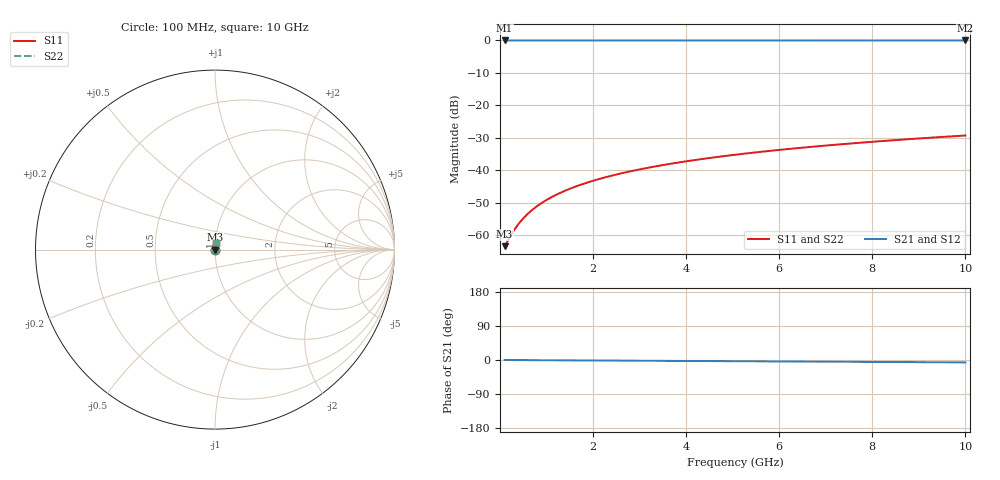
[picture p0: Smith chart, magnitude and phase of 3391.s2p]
# Hz S RI R 50.00
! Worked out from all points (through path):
!   100 points, 100 MHz to 10 GHz, reference 50 ohm
!   highest |S21| = -0.01 dB at 100 MHz (marker M1); lowest = 0.0 dB at 10 GHz (marker M2)
!   lowest |S11| = -63.4 dB at 100 MHz (marker M3), VSWR 1.00, Z = 50.1 + j0.0342 ohm
!   |S11| at or under -10 dB: start of sweep to end of sweep
!   |S22| runs from -63.4 to -29.3 dB; largest |S21 - S12| = 0
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1e8  0.000582 0.000342  0.9994 -0.0011  0.9994 -0.0011  0.000582 0.000342
2e8  0.000587 0.000684  0.9994 -0.0022  0.9994 -0.0022  0.000587 0.000684
3e8  0.000592 0.00103  0.9994 -0.00331  0.9994 -0.00331  0.000592 0.00103
4e8  0.000596 0.00137  0.9994 -0.00441  0.9994 -0.00441  0.000596 0.00137
5e8  0.000601 0.00171  0.9994 -0.00551  0.9994 -0.00551  0.000601 0.00171
6e8  0.000607 0.00205  0.9994 -0.00661  0.9994 -0.00661  0.000607 0.00205
7e8  0.000613 0.00239  0.9994 -0.00771  0.9994 -0.00771  0.000613 0.00239
9e8  0.000627 0.00308  0.9993 -0.00992  0.9993 -0.00992  0.000627 0.00308
1e9  0.000635 0.00342  0.9993 -0.011  0.9993 -0.011  0.000635 0.00342
1.2e9  0.000654 0.0041  0.9993 -0.0132  0.9993 -0.0132  0.000654 0.0041
1.5e9  0.000687 0.00513  0.9992 -0.0165  0.9992 -0.0165  0.000687 0.00513
1.8e9  0.000726 0.00615  0.9992 -0.0198  0.9992 -0.0198  0.000726 0.00615
2.1e9  0.000772 0.00718  0.9991 -0.0231  0.9991 -0.0231  0.000772 0.00718
2.5e9  0.000843 0.00854  0.999 -0.0276  0.999 -0.0276  0.000843 0.00854
2.9e9  0.000926 0.00991  0.9988 -0.032  0.9988 -0.032  0.000926 0.00991
3.4e9  0.00105 0.0116  0.9986 -0.0375  0.9986 -0.0375  0.00105 0.0116
4.2e9  0.00128 0.0143  0.9982 -0.0463  0.9982 -0.0463  0.00128 0.0143
5.1e9  0.0016 0.0174  0.9976 -0.0562  0.9976 -0.0562  0.0016 0.0174
5.9e9  0.00193 0.0201  0.997 -0.0651  0.997 -0.0651  0.00193 0.0201
6.7e9  0.00232 0.0228  0.9963 -0.0739  0.9963 -0.0739  0.00232 0.0228
8.4e9  0.00329 0.0286  0.9946 -0.0927  0.9946 -0.0927  0.00329 0.0286
1e10  0.00441 0.034  0.9926 -0.1104  0.9926 -0.1104  0.00441 0.034
